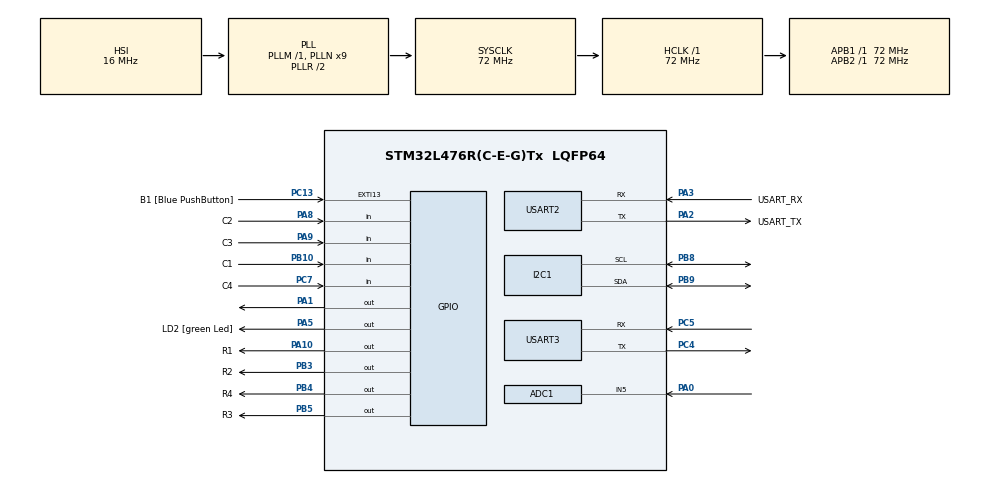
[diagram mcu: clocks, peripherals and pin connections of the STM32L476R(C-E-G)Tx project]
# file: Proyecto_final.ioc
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ADC1.Channel-0\#ChannelRegularConversion=ADC_CHANNEL_5
ADC1.NbrOfConversionFlag=1
ADC1.OffsetNumber-0\#ChannelRegularConversion=ADC_OFFSET_NONE
ADC1.Rank-0\#ChannelRegularConversion=1
ADC1.SamplingTime-0\#ChannelRegularConversion=ADC_SAMPLETIME_2CYCLES_5
ADC1.master=1
I2C1.Timing=0x10C18DCC
Mcu.Family=STM32L4
Mcu.Name=STM32L476R(C-E-G)Tx
Mcu.Package=LQFP64
NVIC.PriorityGroup=NVIC_PRIORITYGROUP_4
PA0.Signal=ADCx_IN5
PA1.Signal=GPIO_Output
PA10.GPIO_Label=R1
PA10.Signal=GPIO_Output
PA13\ (JTMS-SWDIO).GPIO_Label=TMS
PA13\ (JTMS-SWDIO).Mode=Serial_Wire
PA13\ (JTMS-SWDIO).Signal=SYS_JTMS-SWDIO
PA14\ (JTCK-SWCLK).GPIO_Label=TCK
PA14\ (JTCK-SWCLK).Mode=Serial_Wire
PA14\ (JTCK-SWCLK).Signal=SYS_JTCK-SWCLK
PA2.GPIO_Label=USART_TX
PA2.GPIO_Mode=GPIO_MODE_AF_PP
PA2.GPIO_PuPd=GPIO_NOPULL
PA2.GPIO_Speed=GPIO_SPEED_FREQ_VERY_HIGH
PA2.Mode=Asynchronous
PA2.Signal=USART2_TX
PA3.GPIO_Label=USART_RX
PA3.GPIO_Mode=GPIO_MODE_AF_PP
PA3.GPIO_PuPd=GPIO_NOPULL
PA3.GPIO_Speed=GPIO_SPEED_FREQ_VERY_HIGH
PA3.Mode=Asynchronous
PA3.Signal=USART2_RX
PA5.GPIO_Label=LD2 [green Led]
PA5.GPIO_ModeDefaultOutputPP=GPIO_MODE_OUTPUT_PP
PA5.GPIO_PuPd=GPIO_NOPULL
PA5.GPIO_Speed=GPIO_SPEED_FREQ_LOW
PA5.Signal=GPIO_Output
PA8.GPIO_Label=C2
PA8.GPIO_Mode=GPIO_MODE_INPUT
PA8.GPIO_PuPd=GPIO_PULLUP
PA8.Signal=GPIO_Input
PA9.GPIO_Label=C3
PA9.GPIO_Mode=GPIO_MODE_INPUT
PA9.GPIO_PuPd=GPIO_PULLUP
PA9.Signal=GPIO_Input
PB10.GPIO_Label=C1
PB10.GPIO_Mode=GPIO_MODE_INPUT
PB10.GPIO_PuPd=GPIO_PULLUP
PB10.Signal=GPIO_Input
PB3\ (JTDO-TRACESWO).GPIO_Label=R2
PB3\ (JTDO-TRACESWO).Signal=GPIO_Output
PB4\ (NJTRST).GPIO_Label=R4
PB4\ (NJTRST).Signal=GPIO_Output
PB5.GPIO_Label=R3
PB5.Signal=GPIO_Output
PB8.Mode=I2C
PB8.Signal=I2C1_SCL
PB9.Mode=I2C
PB9.Signal=I2C1_SDA
PC13.GPIO_Label=B1 [Blue PushButton]
PC13.GPIO_ModeDefaultEXTI=GPIO_MODE_IT_FALLING
PC13.GPIO_PuPd=GPIO_NOPULL
PC13.Signal=GPXTI13
PC14-OSC32_IN\ (PC14).Signal=RCC_OSC32_IN
PC15-OSC32_OUT\ (PC15).Signal=RCC_OSC32_OUT
PC4.Mode=Asynchronous
PC4.Signal=USART3_TX
PC5.Mode=Asynchronous
PC5.Signal=USART3_RX
PC7.GPIO_Label=C4
PC7.GPIO_Mode=GPIO_MODE_INPUT
PC7.GPIO_PuPd=GPIO_PULLUP
PC7.Signal=GPIO_Input
PH0-OSC_IN\ (PH0).Mode=HSE-External-Oscillator
PH0-OSC_IN\ (PH0).Signal=RCC_OSC_IN
PH1-OSC_OUT\ (PH1).Mode=HSE-External-Oscillator
PH1-OSC_OUT\ (PH1).Signal=RCC_OSC_OUT
ProjectManager.HeapSize=0x200
ProjectManager.StackSize=0x400
ProjectManager.TargetToolchain=STM32CubeIDE
RCC.ADCFreq_Value=64000000
RCC.AHBFreq_Value=72000000
RCC.APB1Freq_Value=72000000
RCC.APB1TimFreq_Value=72000000
RCC.APB2Freq_Value=72000000
RCC.APB2TimFreq_Value=72000000
RCC.CortexFreq_Value=72000000
RCC.HCLKFreq_Value=72000000
RCC.HSE_VALUE=8000000
RCC.HSI_VALUE=16000000
RCC.LSE_VALUE=32768
RCC.MSI_VALUE=4000000
RCC.PLLN=9
RCC.PLLSourceVirtual=RCC_PLLSOURCE_HSI
RCC.PREFETCH_ENABLE=1
RCC.SYSCLKFreq_VALUE=72000000
RCC.SYSCLKSource=RCC_SYSCLKSOURCE_PLLCLK
RCC.USBFreq_Value=64000000
RCC.VCOOutputFreq_Value=144000000
SH.ADCx_IN5.0=ADC1_IN5,IN5-Single-Ended
USART2.VirtualMode-Asynchronous=VM_ASYNC
USART3.VirtualMode-Asynchronous=VM_ASYNC
board=NUCLEO-L476RG

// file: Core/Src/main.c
/* USER CODE BEGIN Header */
/**
  ******************************************************************************
  * @file           : main.c
  * @brief          : Main program body
  ******************************************************************************
  * @attention
  *
  * Copyright (c) 2024 STMicroelectronics.
  * All rights reserved.
  *
  * This software is licensed under terms that can be found in the LICENSE file
  * in the root directory of this software component.
  * If no LICENSE file comes with this software, it is provided AS-IS.
  *
  ******************************************************************************
  */
/* USER CODE END Header */
#include "main.h"

/* USER CODE BEGIN Includes */
#include <string.h>
#include <stdio.h>
#include "ssd1306.h"
#include "ssd1306_fonts.h"
#include "keypad_4x4.h"
#include "rbuf.h"

/* USER CODE END Includes */

ADC_HandleTypeDef hadc1;

I2C_HandleTypeDef hi2c1;

UART_HandleTypeDef huart2;
UART_HandleTypeDef huart3;

/* USER CODE BEGIN PV */
char tecla; // SE DECLARA LA VARIABLE TECLA
/* USER CODE END PV */

void SystemClock_Config(void);
static void MX_GPIO_Init(void);
static void MX_USART2_UART_Init(void);
static void MX_ADC1_Init(void);
static void MX_I2C1_Init(void);
static void MX_USART3_UART_Init(void);

int main(void)
{

  /* MCU Configuration--------------------------------------------------------*/

  /* Reset of all peripherals, Initializes the Flash interface and the Systick. */
  HAL_Init(); // INICIALIZA LA LIBRERIA HAL

  /* USER CODE BEGIN Init */
  uint16_t raw; // SE DECLARA LA VARIABLE RAW TIPO UINT16
  char msg[10]; // SE DECLARA LA VARIABLE MSG TIPO, TAMAÑO 10
  char clave [4]; // SE DELCARA LA VARIABLE CLAVE TIPO CHAR TAMAÑO 4
  int indice = 0; // SE DECLARA LA VARIABLE INDICE TIPO ENTERO, QUE NOS SERVIRA PARA CONTROLAR O RECORRER LAS POSICIONES DEL ARREGLO CLAVE
  /* USER CODE END Init */

  /* Configure the system clock */
  SystemClock_Config();

  /* Initialize all configured peripherals */
  MX_GPIO_Init();
  MX_USART2_UART_Init();
  MX_ADC1_Init();
  MX_I2C1_Init();
  MX_USART3_UART_Init();
  /* USER CODE BEGIN 2 */

  ssd1306_Init();   // INICIALIZA LA PANTALLA OLED
  /* USER CODE END 2 */

  /* Infinite loop */
  /* USER CODE BEGIN WHILE */
  while (1)
  {

	  tecla = Keypad_Get_Char();
	  	 	if (tecla != 0) {

	  	 		if (indice < sizeof(clave)) { // VERIFICA QUE INDICE SEA MENOR QUE CLAVE

	  	 		        clave[indice] = tecla;         // ALMACENA LA TECLA EN LA CADENA
	  	 		        indice++;                       // INCREMENRTA EL INDICE
	  	 		        clave[indice] = '\0';          // TTERMINA LA CADENA CON UN NULO
	  	 		    }
	  	 		if (atoi(clave) == 123) { //VERIFICA QUE CLAVE SEA IGUAL A 123, ATOI CONVIERTE LA CADENA A NUMEROS
	  	 				  HAL_GPIO_TogglePin(GPIOA, GPIO_PIN_5); //ENCIENDE EL LED VERDE AL INGRESAR LA CLAVE CORRECTA
	  	 	}
	  }

	  HAL_ADC_Start(&hadc1); //INICIALIZACION DEL COVERTIDOR
	  HAL_ADC_PollForConversion(&hadc1, HAL_MAX_DELAY); //ESPERA A QUE ADC COMPLETE LA CONVERSIÓN
	  raw = HAL_ADC_GetValue(&hadc1)*0.07; // ESCALA EL DATO LEIDO EN EL SENSOR
	  sprintf(msg, "%hu\r\n", raw);//IMPRIME EL MENSAJE LEIDO
	  HAL_UART_Transmit(&huart3, (uint8_t*)msg, strlen(msg), HAL_MAX_DELAY);//TRANSMITE EL MENSAJE LEIDO POR USART3

	  ssd1306_Fill(Black);      // RELLENA LA PANTALLA CON NEGRO
	  ssd1306_SetCursor(10, 20); // POSICIONA EL CURSOR EN (10,20)

	  sprintf(msg, "%hu\r\n", raw);// IMPRIME EL VALOR DE LA VARIABLE
	  ssd1306_WriteString(msg, Font_11x18, White);  // ESCRIBE EL MENSAJE EN PANTALLA
	  ssd1306_UpdateScreen();    // ACTUALIZA LA PANTALLA PARA MOSTRAR EL CONTENIDO

    /* USER CODE END WHILE */

  }
}

void SystemClock_Config(void)
{
  RCC_OscInitTypeDef RCC_OscInitStruct = {0};
  RCC_ClkInitTypeDef RCC_ClkInitStruct = {0};

  /** Configure the main internal regulator output voltage
  */
  if (HAL_PWREx_ControlVoltageScaling(PWR_REGULATOR_VOLTAGE_SCALE1) != HAL_OK)
  {
    Error_Handler();
  }

  /** Initializes the RCC Oscillators according to the specified parameters
  * in the RCC_OscInitTypeDef structure.
  */
  RCC_OscInitStruct.OscillatorType = RCC_OSCILLATORTYPE_HSI;
  RCC_OscInitStruct.HSIState = RCC_HSI_ON;
  RCC_OscInitStruct.HSICalibrationValue = RCC_HSICALIBRATION_DEFAULT;
  RCC_OscInitStruct.PLL.PLLState = RCC_PLL_ON;
  RCC_OscInitStruct.PLL.PLLSource = RCC_PLLSOURCE_HSI;
  RCC_OscInitStruct.PLL.PLLM = 1;
  RCC_OscInitStruct.PLL.PLLN = 9;
  RCC_OscInitStruct.PLL.PLLP = RCC_PLLP_DIV7;
  RCC_OscInitStruct.PLL.PLLQ = RCC_PLLQ_DIV2;
  RCC_OscInitStruct.PLL.PLLR = RCC_PLLR_DIV2;
  if (HAL_RCC_OscConfig(&RCC_OscInitStruct) != HAL_OK)
  {
    Error_Handler();
  }

  /** Initializes the CPU, AHB and APB buses clocks
  */
  RCC_ClkInitStruct.ClockType = RCC_CLOCKTYPE_HCLK|RCC_CLOCKTYPE_SYSCLK
                              |RCC_CLOCKTYPE_PCLK1|RCC_CLOCKTYPE_PCLK2;
  RCC_ClkInitStruct.SYSCLKSource = RCC_SYSCLKSOURCE_PLLCLK;
  RCC_ClkInitStruct.AHBCLKDivider = RCC_SYSCLK_DIV1;
  RCC_ClkInitStruct.APB1CLKDivider = RCC_HCLK_DIV1;
  RCC_ClkInitStruct.APB2CLKDivider = RCC_HCLK_DIV1;

  if (HAL_RCC_ClockConfig(&RCC_ClkInitStruct, FLASH_LATENCY_4) != HAL_OK)
  {
    Error_Handler();
  }
}

static void MX_ADC1_Init(void)
{

  ADC_MultiModeTypeDef multimode = {0};
  ADC_ChannelConfTypeDef sConfig = {0};

  /** Common config
  */
  hadc1.Instance = ADC1;
  hadc1.Init.ClockPrescaler = ADC_CLOCK_ASYNC_DIV1;
  hadc1.Init.Resolution = ADC_RESOLUTION_12B;
  hadc1.Init.DataAlign = ADC_DATAALIGN_RIGHT;
  hadc1.Init.ScanConvMode = ADC_SCAN_DISABLE;
  hadc1.Init.EOCSelection = ADC_EOC_SINGLE_CONV;
  hadc1.Init.LowPowerAutoWait = DISABLE;
  hadc1.Init.ContinuousConvMode = DISABLE;
  hadc1.Init.NbrOfConversion = 1;
  hadc1.Init.DiscontinuousConvMode = DISABLE;
  hadc1.Init.ExternalTrigConv = ADC_SOFTWARE_START;
  hadc1.Init.ExternalTrigConvEdge = ADC_EXTERNALTRIGCONVEDGE_NONE;
  hadc1.Init.DMAContinuousRequests = DISABLE;
  hadc1.Init.Overrun = ADC_OVR_DATA_PRESERVED;
  hadc1.Init.OversamplingMode = DISABLE;
  if (HAL_ADC_Init(&hadc1) != HAL_OK)
  {
    Error_Handler();
  }

  /** Configure the ADC multi-mode
  */
  multimode.Mode = ADC_MODE_INDEPENDENT;
  if (HAL_ADCEx_MultiModeConfigChannel(&hadc1, &multimode) != HAL_OK)
  {
    Error_Handler();
  }

  /** Configure Regular Channel
  */
  sConfig.Channel = ADC_CHANNEL_5;
  sConfig.Rank = ADC_REGULAR_RANK_1;
  sConfig.SamplingTime = ADC_SAMPLETIME_2CYCLES_5;
  sConfig.SingleDiff = ADC_SINGLE_ENDED;
  sConfig.OffsetNumber = ADC_OFFSET_NONE;
  sConfig.Offset = 0;
  if (HAL_ADC_ConfigChannel(&hadc1, &sConfig) != HAL_OK)
  {
    Error_Handler();
  }

}

static void MX_I2C1_Init(void)
{

  hi2c1.Instance = I2C1;
  hi2c1.Init.Timing = 0x10C18DCC;
  hi2c1.Init.OwnAddress1 = 0;
  hi2c1.Init.AddressingMode = I2C_ADDRESSINGMODE_7BIT;
  hi2c1.Init.DualAddressMode = I2C_DUALADDRESS_DISABLE;
  hi2c1.Init.OwnAddress2 = 0;
  hi2c1.Init.OwnAddress2Masks = I2C_OA2_NOMASK;
  hi2c1.Init.GeneralCallMode = I2C_GENERALCALL_DISABLE;
  hi2c1.Init.NoStretchMode = I2C_NOSTRETCH_DISABLE;
  if (HAL_I2C_Init(&hi2c1) != HAL_OK)
  {
    Error_Handler();
  }

  /** Configure Analogue filter
  */
  if (HAL_I2CEx_ConfigAnalogFilter(&hi2c1, I2C_ANALOGFILTER_ENABLE) != HAL_OK)
  {
    Error_Handler();
  }

  /** Configure Digital filter
  */
  if (HAL_I2CEx_ConfigDigitalFilter(&hi2c1, 0) != HAL_OK)
  {
    Error_Handler();
  }

}

static void MX_USART2_UART_Init(void)
{

  huart2.Instance = USART2;
  huart2.Init.BaudRate = 115200;
  huart2.Init.WordLength = UART_WORDLENGTH_8B;
  huart2.Init.StopBits = UART_STOPBITS_1;
  huart2.Init.Parity = UART_PARITY_NONE;
  huart2.Init.Mode = UART_MODE_TX_RX;
  huart2.Init.HwFlowCtl = UART_HWCONTROL_NONE;
  huart2.Init.OverSampling = UART_OVERSAMPLING_16;
  huart2.Init.OneBitSampling = UART_ONE_BIT_SAMPLE_DISABLE;
  huart2.AdvancedInit.AdvFeatureInit = UART_ADVFEATURE_NO_INIT;
  if (HAL_UART_Init(&huart2) != HAL_OK)
  {
    Error_Handler();
  }

}

static void MX_USART3_UART_Init(void)
{

  huart3.Instance = USART3;
  huart3.Init.BaudRate = 115200;
  huart3.Init.WordLength = UART_WORDLENGTH_8B;
  huart3.Init.StopBits = UART_STOPBITS_1;
  huart3.Init.Parity = UART_PARITY_NONE;
  huart3.Init.Mode = UART_MODE_TX_RX;
  huart3.Init.HwFlowCtl = UART_HWCONTROL_NONE;
  huart3.Init.OverSampling = UART_OVERSAMPLING_16;
  huart3.Init.OneBitSampling = UART_ONE_BIT_SAMPLE_DISABLE;
  huart3.AdvancedInit.AdvFeatureInit = UART_ADVFEATURE_NO_INIT;
  if (HAL_UART_Init(&huart3) != HAL_OK)
  {
    Error_Handler();
  }

}

static void MX_GPIO_Init(void)
{
  GPIO_InitTypeDef GPIO_InitStruct = {0};

  /* GPIO Ports Clock Enable */
  __HAL_RCC_GPIOC_CLK_ENABLE();
  __HAL_RCC_GPIOH_CLK_ENABLE();
  __HAL_RCC_GPIOA_CLK_ENABLE();
  __HAL_RCC_GPIOB_CLK_ENABLE();

  /*Configure GPIO pin Output Level */
  HAL_GPIO_WritePin(GPIOA, GPIO_PIN_1|LD2_Pin|R1_Pin, GPIO_PIN_RESET);

  /*Configure GPIO pin Output Level */
  HAL_GPIO_WritePin(GPIOB, R2_Pin|R4_Pin|R3_Pin, GPIO_PIN_RESET);

  /*Configure GPIO pin : B1_Pin */
  GPIO_InitStruct.Pin = B1_Pin;
  GPIO_InitStruct.Mode = GPIO_MODE_IT_FALLING;
  GPIO_InitStruct.Pull = GPIO_NOPULL;
  HAL_GPIO_Init(B1_GPIO_Port, &GPIO_InitStruct);

  /*Configure GPIO pins : PA1 LD2_Pin R1_Pin */
  GPIO_InitStruct.Pin = GPIO_PIN_1|LD2_Pin|R1_Pin;
  GPIO_InitStruct.Mode = GPIO_MODE_OUTPUT_PP;
  GPIO_InitStruct.Pull = GPIO_NOPULL;
  GPIO_InitStruct.Speed = GPIO_SPEED_FREQ_LOW;
  HAL_GPIO_Init(GPIOA, &GPIO_InitStruct);

  /*Configure GPIO pin : C1_Pin */
  GPIO_InitStruct.Pin = C1_Pin;
  GPIO_InitStruct.Mode = GPIO_MODE_INPUT;
  GPIO_InitStruct.Pull = GPIO_PULLUP;
  HAL_GPIO_Init(C1_GPIO_Port, &GPIO_InitStruct);

  /*Configure GPIO pin : C4_Pin */
  GPIO_InitStruct.Pin = C4_Pin;
  GPIO_InitStruct.Mode = GPIO_MODE_INPUT;
  GPIO_InitStruct.Pull = GPIO_PULLUP;
  HAL_GPIO_Init(C4_GPIO_Port, &GPIO_InitStruct);

  /*Configure GPIO pins : C2_Pin C3_Pin */
  GPIO_InitStruct.Pin = C2_Pin|C3_Pin;
  GPIO_InitStruct.Mode = GPIO_MODE_INPUT;
  GPIO_InitStruct.Pull = GPIO_PULLUP;
  HAL_GPIO_Init(GPIOA, &GPIO_InitStruct);

  /*Configure GPIO pins : R2_Pin R4_Pin R3_Pin */
  GPIO_InitStruct.Pin = R2_Pin|R4_Pin|R3_Pin;
  GPIO_InitStruct.Mode = GPIO_MODE_OUTPUT_PP;
  GPIO_InitStruct.Pull = GPIO_NOPULL;
  GPIO_InitStruct.Speed = GPIO_SPEED_FREQ_LOW;
  HAL_GPIO_Init(GPIOB, &GPIO_InitStruct);

}

void Error_Handler(void)
{
  __disable_irq();
  while (1)
  {
  }
}
